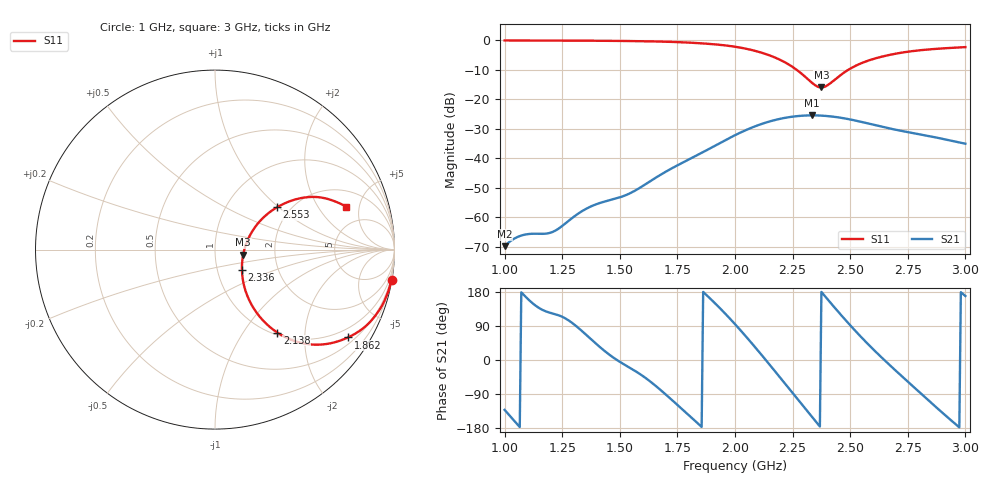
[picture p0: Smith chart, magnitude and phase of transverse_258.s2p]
! TOUCHSTONE file generated by CST MICROWAVE STUDIO
! Date and time: Tue Mar 11 13:58:05 2025
! Project name: transverse.cst
! Parameters = {Fracture=5; B=12.5; D=160; F=5; Feed=2.85625; L=100; M=20; R=0.384908; S=1; Theta=270; length=57.125; wave=114.25}
! Header version: 2024
! Port assignment regex: !\s*Touchstone port\s*([0-9]+)\s*=\s*(CST MWS port|CST DES external port|CST DES block port)\s*(.+)\s* \(\"(.*)\"\)(\s*mode\s*([0-9]+))?.*
! Touchstone port assignment:
! Touchstone port 1 = CST MWS port 1 ("")
! Touchstone port 2 = CST MWS port 2 ("")
# GHz S MA R 50
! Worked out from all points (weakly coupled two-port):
!   305 points, 1 GHz to 3 GHz, reference 50 ohm
!   highest |S21| = -25.40 dB at 2.336 GHz (marker M1); lowest = -69.7 dB at 1 GHz (marker M2)
!   lowest |S11| = -15.9 dB at 2.375 GHz (marker M3), VSWR 1.38, Z = 68.5 - j4.04 ohm
!   |S11| at or under -10 dB: 2.268 GHz to 2.491 GHz (222.6 MHz wide, 9.36 % of centre)
!   S12 and S22 are empty: the file has one direction only
!   S11 on the Smith chart (normalised r, x): 1 GHz: 0, -12; 1.862 GHz: 0.69, -3.19; 2.138 GHz: 1.04, -1.45; 2.336 GHz: 1.31, -0.31; 2.553 GHz: 1.70, +0.97; 3 GHz: 3.15, +3.70
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1  0.9979 -9.8  0.0003267 -131.6  0 0.0  0 0.0
1.03289  0.9973 -10.2  0.0004174 -154.5  0 0.0  0 0.0
1.07237  0.9965 -10.8  0.0004944 178.7  0 0.0  0 0.0
1.17763  0.9949 -12.3  0.0005318 128.6  0 0.0  0 0.0
1.21053  0.9943 -12.9  0.0005737 122.5  0 0.0  0 0.0
1.33553  0.9897 -15.2  0.001278 76.6  0 0.0  0 0.0
1.39474  0.9871 -16.4  0.00166 44.1  0 0.0  0 0.0
1.53947  0.9759 -20.1  0.002519 -19.1  0 0.0  0 0.0
1.67105  0.9564 -24.4  0.005128 -76.1  0 0.0  0 0.0
1.86184  0.8881 -33.4  0.01284 179.7  0 0.0  0 0.0
2  0.781 -42.7  0.02478 94.7  0 0.0  0 0.0
2.07237  0.6878 -48.3  0.03325 44.5  0 0.0  0 0.0
2.13816  0.5791 -53.0  0.04104 -3.4  0 0.0  0 0.0
2.24342  0.3693 -56.5  0.05068 -82.2  0 0.0  0 0.0
2.33553  0.1892 -37.5  0.05371 -151.3  0 0.0  0 0.0
2.375  0.1595 -10.4  0.05319 179.6  0 0.0  0 0.0
2.40132  0.1734 8.6  0.05227 160.5  0 0.0  0 0.0
2.46711  0.2743 31.0  0.04836 114.0  0 0.0  0 0.0
2.55263  0.4172 34.3  0.04128 57.4  0 0.0  0 0.0
2.67105  0.5684 30.5  0.0322 -13.2  0 0.0  0 0.0
2.82237  0.6928 23.9  0.02478 -97.0  0 0.0  0 0.0
3  0.7697 18.1  0.01778 168.8  0 0.0  0 0.0
